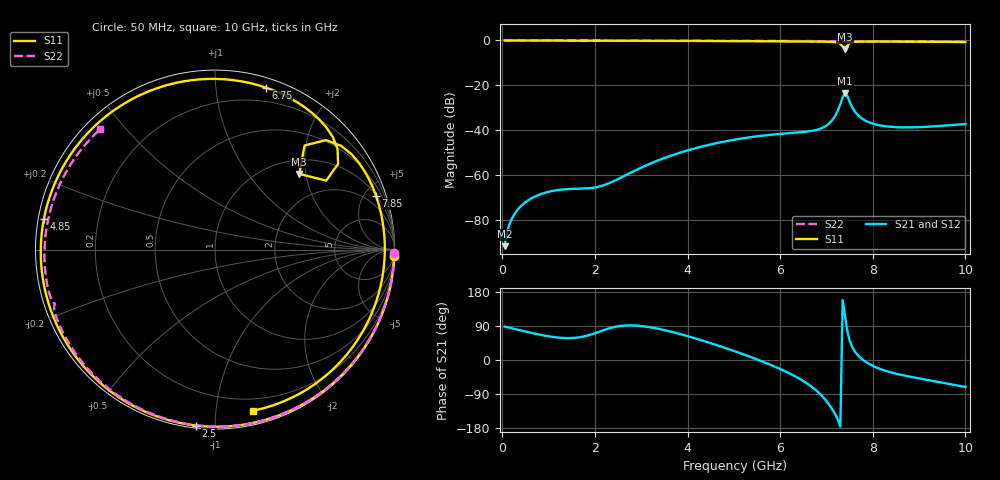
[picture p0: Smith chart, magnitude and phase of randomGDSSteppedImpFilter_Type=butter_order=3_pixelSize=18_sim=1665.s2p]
! freq	dB(S11)	phase(S11)	dB(S12)	phase(S12)
!  dB(S21)	phase(S21)	dB(S22)	phase(S22)
!S-par simulation data
#  GHz  S  DB  R 50
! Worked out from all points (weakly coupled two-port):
!   200 points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, 50 MHz to 10 GHz, reference 50 ohm
!   highest |S21| = -23.33 dB at 7.4 GHz (marker M1); lowest = -91.5 dB at 50 MHz (marker M2)
!   lowest |S11| = -4.0 dB at 7.4 GHz (marker M3), VSWR 4.42, Z = 65.5 + j91.8 ohm
!   |S11| at or under -10 dB: nowhere
!   |S22| runs from -0.7 to 0.0 dB; largest |S21 - S12| = 0
!   S11 on the Smith chart (normalised r, x): 50 MHz: 1, -57; 2.5 GHz: 0.01, -0.90; 4.85 GHz: 0.02, +0.09; 6.75 GHz: 0.08, +1.36; 7.85 GHz: 1.06, +6.00; 10 GHz: 0.10, -1.25
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0.05  -0.00 -2.0  -91.48 88.1  -91.48 88.1  -0.00 -1.2
0.2  -0.01 -7.9  -79.54 83.7  -79.54 83.7  -0.01 -4.8
0.45  -0.02 -17.7  -72.79 76.3  -72.79 76.3  -0.01 -10.7
0.8  -0.04 -31.3  -68.57 66.9  -68.57 66.9  -0.02 -18.9
1.75  -0.09 -67.8  -65.86 61.8  -65.86 61.8  -0.05 -40.9
2.5  -0.12 -96.2  -61.64 89.0  -61.64 89.0  -0.07 -57.8
3.4  -0.17 -130.4  -53.05 81.6  -53.05 81.6  -0.10 -77.5
4.15  -0.22 -160.2  -48.03 57.7  -48.03 57.7  -0.13 -93.4
4.85  -0.28 169.9  -44.73 30.3  -44.73 30.3  -0.16 -108.0
5.05  -0.30 160.9  -44.00 21.8  -44.00 21.8  -0.17 -112.1
6  -0.39 114.0  -41.56 -23.7  -41.56 -23.7  -0.23 -131.7
6.7  -0.47 75.5  -40.16 -72.5  -40.16 -72.5  -0.29 -146.3
6.75  -0.48 72.6  -39.95 -77.4  -39.95 -77.4  -0.29 -147.3
7.05  -0.60 54.4  -37.04 -116.5  -37.04 -116.5  -0.32 -153.8
7.25  -1.07 39.5  -30.98 -158.7  -30.98 -158.7  -0.36 -158.4
7.35  -2.74 31.8  -25.25 158.0  -25.25 158.0  -0.45 -160.7
7.4  -4.00 41.9  -23.33 117.2  -23.33 117.2  -0.52 -161.3
7.5  -1.22 44.6  -27.26 51.2  -27.26 51.2  -0.43 -162.9
7.85  -0.48 18.4  -35.73 -5.0  -35.73 -5.0  -0.41 -171.0
8.35  -0.49 -8.1  -38.32 -31.2  -38.32 -31.2  -0.46 177.3
9.2  -0.57 -46.2  -38.36 -53.1  -38.36 -53.1  -0.56 156.0
10  -0.71 -76.9  -37.16 -71.2  -37.16 -71.2  -0.66 133.6
